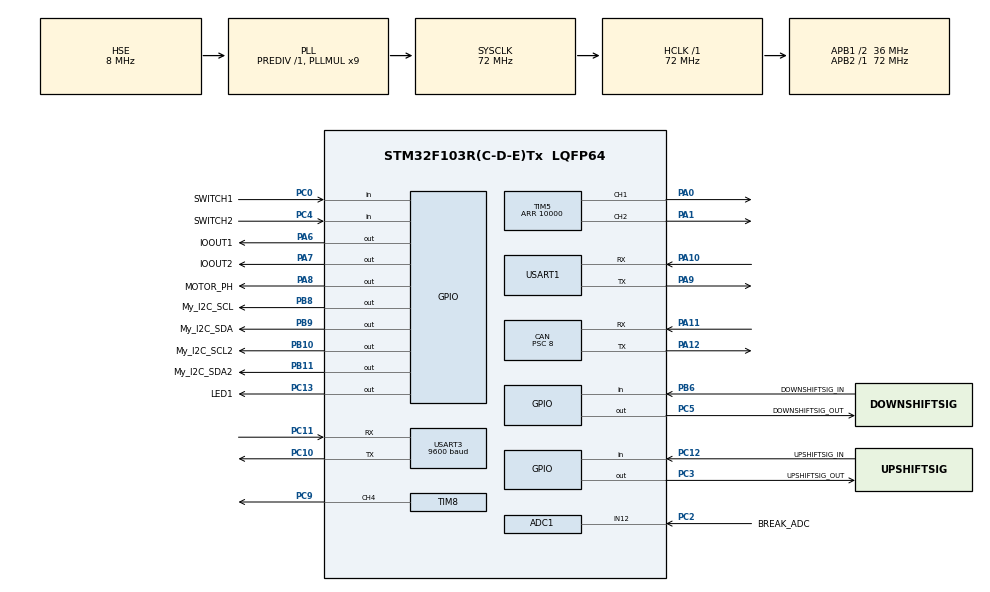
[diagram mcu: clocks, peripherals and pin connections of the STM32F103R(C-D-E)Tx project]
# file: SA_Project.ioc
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ADC1.Channel-0\#ChannelRegularConversion=ADC_CHANNEL_12
ADC1.NbrOfConversionFlag=1
ADC1.Rank-0\#ChannelRegularConversion=1
ADC1.SamplingTime-0\#ChannelRegularConversion=ADC_SAMPLETIME_1CYCLE_5
ADC1.master=1
CAN.ABOM=DISABLE
CAN.AWUM=ENABLE
CAN.BS1=CAN_BS1_4TQ
CAN.BS2=CAN_BS2_4TQ
CAN.CalculateBaudRate=500000
CAN.CalculateTimeBit=2000
CAN.CalculateTimeQuantum=222.22222222222223
CAN.Mode=CAN_MODE_NORMAL
CAN.NART=ENABLE
CAN.Prescaler=8
CAN.RFLM=ENABLE
CAN.SJW=CAN_SJW_1TQ
CAN.TTCM=DISABLE
CAN.TXFP=DISABLE
Dma.Request0=USART3_TX
Dma.Request1=USART1_TX
Dma.Request2=USART1_RX
Dma.Request3=USART3_RX
Dma.USART1_RX.2.Direction=DMA_PERIPH_TO_MEMORY
Dma.USART1_RX.2.Instance=DMA1_Channel5
Dma.USART1_RX.2.MemDataAlignment=DMA_MDATAALIGN_BYTE
Dma.USART1_RX.2.MemInc=DMA_MINC_ENABLE
Dma.USART1_RX.2.Mode=DMA_NORMAL
Dma.USART1_RX.2.PeriphDataAlignment=DMA_PDATAALIGN_BYTE
Dma.USART1_RX.2.PeriphInc=DMA_PINC_DISABLE
Dma.USART1_RX.2.Priority=DMA_PRIORITY_LOW
Dma.USART1_TX.1.Direction=DMA_MEMORY_TO_PERIPH
Dma.USART1_TX.1.Instance=DMA1_Channel4
Dma.USART1_TX.1.MemDataAlignment=DMA_MDATAALIGN_BYTE
Dma.USART1_TX.1.MemInc=DMA_MINC_ENABLE
Dma.USART1_TX.1.Mode=DMA_NORMAL
Dma.USART1_TX.1.PeriphDataAlignment=DMA_PDATAALIGN_BYTE
Dma.USART1_TX.1.PeriphInc=DMA_PINC_DISABLE
Dma.USART1_TX.1.Priority=DMA_PRIORITY_LOW
Dma.USART3_RX.3.Direction=DMA_PERIPH_TO_MEMORY
Dma.USART3_RX.3.Instance=DMA1_Channel3
Dma.USART3_RX.3.MemDataAlignment=DMA_MDATAALIGN_BYTE
Dma.USART3_RX.3.MemInc=DMA_MINC_ENABLE
Dma.USART3_RX.3.Mode=DMA_NORMAL
Dma.USART3_RX.3.PeriphDataAlignment=DMA_PDATAALIGN_BYTE
Dma.USART3_RX.3.PeriphInc=DMA_PINC_DISABLE
Dma.USART3_RX.3.Priority=DMA_PRIORITY_LOW
Dma.USART3_TX.0.Direction=DMA_MEMORY_TO_PERIPH
Dma.USART3_TX.0.Instance=DMA1_Channel2
Dma.USART3_TX.0.MemDataAlignment=DMA_MDATAALIGN_BYTE
Dma.USART3_TX.0.MemInc=DMA_MINC_ENABLE
Dma.USART3_TX.0.Mode=DMA_NORMAL
Dma.USART3_TX.0.PeriphDataAlignment=DMA_PDATAALIGN_BYTE
Dma.USART3_TX.0.PeriphInc=DMA_PINC_DISABLE
Dma.USART3_TX.0.Priority=DMA_PRIORITY_LOW
Mcu.Family=STM32F1
Mcu.Name=STM32F103R(C-D-E)Tx
Mcu.Package=LQFP64
NVIC.DMA1_Channel2_IRQn=true\:0\:0\:false\:false\:true\:false\:true\:true
NVIC.DMA1_Channel3_IRQn=true\:0\:0\:false\:false\:true\:false\:true\:true
NVIC.DMA1_Channel4_IRQn=true\:0\:0\:false\:false\:true\:false\:true\:true
NVIC.DMA1_Channel5_IRQn=true\:0\:0\:false\:false\:true\:false\:true\:true
NVIC.PriorityGroup=NVIC_PRIORITYGROUP_4
NVIC.TIM2_IRQn=true\:1\:0\:true\:false\:true\:true\:true\:true
NVIC.USB_LP_CAN1_RX0_IRQn=true\:0\:0\:false\:false\:true\:true\:true\:true
PA0-WKUP.Signal=S_TIM5_CH1
PA1.Signal=S_TIM5_CH2
PA10.Mode=Asynchronous
PA10.Signal=USART1_RX
PA11.Mode=CAN_Activate
PA11.Signal=CAN_RX
PA12.Mode=CAN_Activate
PA12.Signal=CAN_TX
PA13.Mode=Serial_Wire
PA13.Signal=SYS_JTMS-SWDIO
PA14.Mode=Serial_Wire
PA14.Signal=SYS_JTCK-SWCLK
PA6.GPIO_Label=IOOUT1
PA6.GPIO_PuPd=GPIO_PULLDOWN
PA6.Signal=GPIO_Output
PA7.GPIO_Label=IOOUT2
PA7.Signal=GPIO_Output
PA8.GPIO_Label=MOTOR_PH
PA8.Signal=GPIO_Output
PA9.Mode=Asynchronous
PA9.Signal=USART1_TX
PB10.GPIO_Label=My_I2C_SCL2
PB10.PinState=GPIO_PIN_SET
PB10.Signal=GPIO_Output
PB11.GPIO_Label=My_I2C_SDA2
PB11.PinState=GPIO_PIN_SET
PB11.Signal=GPIO_Output
PB6.GPIO_Label=DOWNSHIFTSIG_IN
PB6.Signal=GPIO_Input
PB8.GPIO_Label=My_I2C_SCL
PB8.PinState=GPIO_PIN_SET
PB8.Signal=GPIO_Output
PB9.GPIO_Label=My_I2C_SDA
PB9.PinState=GPIO_PIN_SET
PB9.Signal=GPIO_Output
PC0.GPIO_Label=SWITCH1
PC0.Signal=GPIO_Input
PC10.Mode=Asynchronous
PC10.Signal=USART3_TX
PC11.Mode=Asynchronous
PC11.Signal=USART3_RX
PC12.GPIO_Label=UPSHIFTSIG_IN
PC12.Signal=GPIO_Input
PC13-TAMPER-RTC.GPIO_Label=LED1
PC13-TAMPER-RTC.Signal=GPIO_Output
PC14-OSC32_IN.Mode=LSE-External-Oscillator
PC14-OSC32_IN.Signal=RCC_OSC32_IN
PC15-OSC32_OUT.Mode=LSE-External-Oscillator
PC15-OSC32_OUT.Signal=RCC_OSC32_OUT
PC2.GPIO_Label=BREAK_ADC
PC2.Signal=ADCx_IN12
PC3.GPIO_Label=UPSHIFTSIG_OUT
PC3.Signal=GPIO_Output
PC4.GPIO_Label=SWITCH2
PC4.Signal=GPIO_Input
PC5.GPIO_Label=DOWNSHIFTSIG_OUT
PC5.Signal=GPIO_Output
PC9.Signal=S_TIM8_CH4
PD0-OSC_IN.Mode=HSE-External-Oscillator
PD0-OSC_IN.Signal=RCC_OSC_IN
PD1-OSC_OUT.Mode=HSE-External-Oscillator
PD1-OSC_OUT.Signal=RCC_OSC_OUT
ProjectManager.HeapSize=0x200
ProjectManager.StackSize=0x400
ProjectManager.TargetToolchain=MDK-ARM V5.32
RCC.ADCPresc=RCC_ADCPCLK2_DIV6
RCC.AHBFreq_Value=72000000
RCC.APB1CLKDivider=RCC_HCLK_DIV2
RCC.APB1Freq_Value=36000000
RCC.APB1TimFreq_Value=72000000
RCC.APB2Freq_Value=72000000
RCC.APB2TimFreq_Value=72000000
RCC.HCLKFreq_Value=72000000
RCC.PLLMUL=RCC_PLL_MUL9
RCC.PLLSourceVirtual=RCC_PLLSOURCE_HSE
RCC.SYSCLKFreq_VALUE=72000000
RCC.SYSCLKSource=RCC_SYSCLKSOURCE_PLLCLK
RCC.USBFreq_Value=72000000
SH.ADCx_IN12.0=ADC1_IN12,IN12
SH.S_TIM5_CH1.0=TIM5_CH1,PWM Generation1 CH1
SH.S_TIM5_CH2.0=TIM5_CH2,PWM Generation2 CH2
SH.S_TIM8_CH4.0=TIM8_CH4,PWM Generation4 CH4
TIM2.AutoReloadPreload=TIM_AUTORELOAD_PRELOAD_ENABLE
TIM2.Period=50-1
TIM2.Prescaler=7200-1
TIM5.Channel-PWM\ Generation1\ CH1=TIM_CHANNEL_1
TIM5.Channel-PWM\ Generation2\ CH2=TIM_CHANNEL_2
TIM5.Period=10000
TIM8.AutoReloadPreload=TIM_AUTORELOAD_PRELOAD_DISABLE
TIM8.Channel-PWM\ Generation4\ CH4=TIM_CHANNEL_4
TIM8.Period=10000
TIM8.Prescaler=0
TIM8.Pulse-PWM\ Generation4\ CH4=0
USART1.VirtualMode=VM_ASYNC
USART3.BaudRate=9600
USART3.VirtualMode=VM_ASYNC
VP_TIM2_VS_ClockSourceINT.Mode=Internal
board=custom

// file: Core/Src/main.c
/* USER CODE BEGIN Header */
/**
  ******************************************************************************
  * @file           : main.c
  * @brief          : Main program body
  ******************************************************************************
  * @attention
  *
  * Copyright (c) 2024 STMicroelectronics.
  * All rights reserved.
  *
  * This software is licensed under terms that can be found in the LICENSE file
  * in the root directory of this software component.
  * If no LICENSE file comes with this software, it is provided AS-IS.
  *
  ******************************************************************************
  */
/* USER CODE END Header */
#include "main.h"
#include "adc.h"
#include "can.h"
#include "dma.h"
#include "tim.h"
#include "usart.h"
#include "gpio.h"

/* USER CODE BEGIN Includes */

#include "headfile.h"    //头文
#include "SA_E_shift.h"    //头文

/* USER CODE END Includes */

/* USER CODE BEGIN PTD */
//FOCmotor_Typedef FOCM1,FOCM2,FOCM3;
//AnglePD_Typedef PDM1;
/* USER CODE END PTD */

/* USER CODE BEGIN PD */
uint8_t message1[]="****UART commucition using IDLE IT DMA****\n";
uint8_t message2[]="Please enter 8 characters: \n";

/* USER CODE END PD */

void SystemClock_Config(void);

/* USER CODE BEGIN 0 */
//float a;
//float b;
uint16_t Motor_speed=0,Motor_dir=0;
uint8_t Eshift_up_flag=0,Eshift_dw_flag=0;
uint8_t key_num,gus_gear=0;

float set111,angle=0;
#define Clutch_pos -110
/* USER CODE END 0 */

int main(void)
{

  /* MCU Configuration--------------------------------------------------------*/

  /* Reset of all peripherals, Initializes the Flash interface and the Systick. */
    HAL_Init();

  /* Configure the system clock */
  SystemClock_Config();

  /* USER CODE BEGIN SysInit */
//  AnglePD_Init(&PDM1);
  /* USER CODE END SysInit */

  /* Initialize all configured peripherals */
      HAL_Delay(2000);
  MX_GPIO_Init();
  MX_DMA_Init();
  MX_USART1_UART_Init();
  MX_TIM8_Init();
  MX_TIM2_Init();
  MX_CAN_Init();
  MX_ADC1_Init();
  MX_USART3_UART_Init();
  MX_TIM5_Init();
  /* USER CODE BEGIN 2 */
//    HAL_TIM_Base_Start_IT(&htim2);//定时器5ms中断开启
   while (Start_ready(&Cyber))
  {
   Motor_init();
    Init_Cyber(&Cyber, 0x01);
    Stop_Cyber(&Cyber, 1);
    Set_Cyber_Mode(&Cyber,1);
    Start_Cyber(&Cyber);
    Set_Cyber_ZeroPos(&Cyber);
    Set_Cyber_Mode(&Cyber,1);
    Set_Cyber_Pos(&Cyber,0) ;
    Set_Cyber_limitSp(&Cyber,50) ;
    Set_Cyber_limitTor(&Cyber,12) ;

  }/* USER CODE END 2 */

  /* Infinite loop */
  /* USER CODE BEGIN WHILE */
  while (1)
  {
      CANtest(&Cyber);
      Set_Cyber_Pos(&Cyber,10) ;
      Motor_run(Motor_speed,Motor_dir);
      key_num=get_key_num();
      if (key_num==4) {Stop_Cyber(&Cyber, 1);}
      if (key_num==3) {Start_Cyber(&Cyber);}
      if (key_num==1) //upshiftsign
          {
              Eshift_up_flag=1;
              while(Eshift_up_flag)
                {
                    Set_Cyber_Pos(&Cyber,Clutch_pos);
                    UPSHIFT_flag(1);
                    while(pre_pos_ready(&Cyber,Clutch_pos,10))//等待离合拉到指定位置-提前量
                    {
//                        if(gus_gear)
                            Motor_run(Motor_speed,Motor_dir);
//                          gus_gear++;
                        HAL_Delay(200);
                        Motor_run(Motor_speed,Motor_dir);
                        HAL_Delay(200);
                        Motor_run(Motor_speed,Motor_dir);
                        HAL_Delay(200);
                        UPSHIFT_flag(0);
                        Eshift_up_flag=0;
                        break;
                    }
                }
           }
      if (key_num==2) {}

    HAL_GPIO_WritePin((GPIO_TypeDef *)LED1_GPIO_Port, (uint16_t)LED1_Pin, (GPIO_PinState)1);

//    printf("samples: %f \n",angle);

    /* USER CODE END WHILE */

  }
}

void SystemClock_Config(void)
{
  RCC_OscInitTypeDef RCC_OscInitStruct = {0};
  RCC_ClkInitTypeDef RCC_ClkInitStruct = {0};
  RCC_PeriphCLKInitTypeDef PeriphClkInit = {0};

  /** Initializes the RCC Oscillators according to the specified parameters
  * in the RCC_OscInitTypeDef structure.
  */
  RCC_OscInitStruct.OscillatorType = RCC_OSCILLATORTYPE_HSE;
  RCC_OscInitStruct.HSEState = RCC_HSE_ON;
  RCC_OscInitStruct.HSEPredivValue = RCC_HSE_PREDIV_DIV1;
  RCC_OscInitStruct.HSIState = RCC_HSI_ON;
  RCC_OscInitStruct.PLL.PLLState = RCC_PLL_ON;
  RCC_OscInitStruct.PLL.PLLSource = RCC_PLLSOURCE_HSE;
  RCC_OscInitStruct.PLL.PLLMUL = RCC_PLL_MUL9;
  if (HAL_RCC_OscConfig(&RCC_OscInitStruct) != HAL_OK)
  {
    Error_Handler();
  }

  /** Initializes the CPU, AHB and APB buses clocks
  */
  RCC_ClkInitStruct.ClockType = RCC_CLOCKTYPE_HCLK|RCC_CLOCKTYPE_SYSCLK
                              |RCC_CLOCKTYPE_PCLK1|RCC_CLOCKTYPE_PCLK2;
  RCC_ClkInitStruct.SYSCLKSource = RCC_SYSCLKSOURCE_PLLCLK;
  RCC_ClkInitStruct.AHBCLKDivider = RCC_SYSCLK_DIV1;
  RCC_ClkInitStruct.APB1CLKDivider = RCC_HCLK_DIV2;
  RCC_ClkInitStruct.APB2CLKDivider = RCC_HCLK_DIV1;

  if (HAL_RCC_ClockConfig(&RCC_ClkInitStruct, FLASH_LATENCY_2) != HAL_OK)
  {
    Error_Handler();
  }
  PeriphClkInit.PeriphClockSelection = RCC_PERIPHCLK_ADC;
  PeriphClkInit.AdcClockSelection = RCC_ADCPCLK2_DIV6;
  if (HAL_RCCEx_PeriphCLKConfig(&PeriphClkInit) != HAL_OK)
  {
    Error_Handler();
  }
}

/* USER CODE BEGIN 4 */
void HAL_TIM_PeriodElapsedCallback(TIM_HandleTypeDef *htim){
    if(htim == &htim2)  //判断中断是否来自于定时器2
   {
   }
}

//单片机测试代码
//    HAL_GPIO_WritePin((GPIO_TypeDef *)LED1_GPIO_Port, (uint16_t)LED1_Pin, (GPIO_PinState)0);
//    HAL_Delay(200);
//    HAL_GPIO_WritePin((GPIO_TypeDef *)LED1_GPIO_Port, (uint16_t)LED1_Pin, (GPIO_PinState)1);
//    HAL_Delay(200);
//    printf("samples: %d \n",a );
//    a++;

/* USER CODE END 4 */

void Error_Handler(void)
{
  __disable_irq();
  while (1)
  {
  }
}
